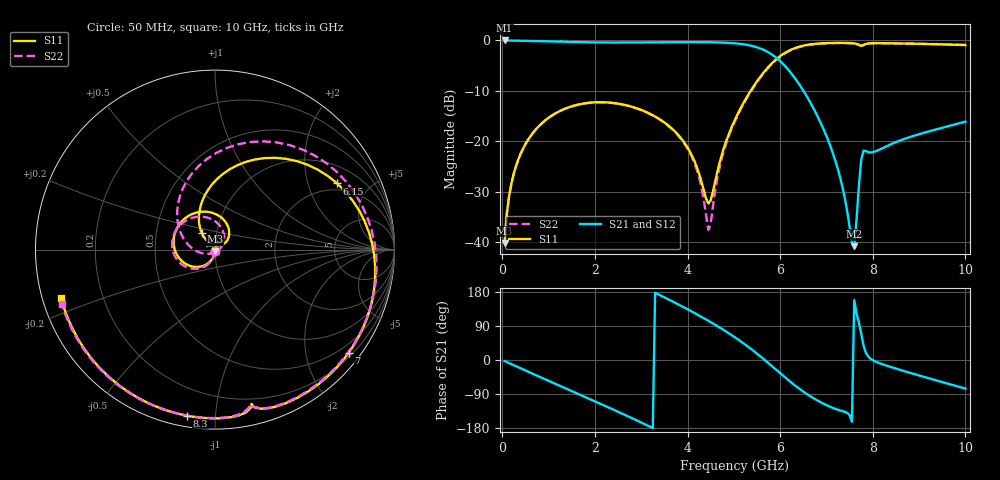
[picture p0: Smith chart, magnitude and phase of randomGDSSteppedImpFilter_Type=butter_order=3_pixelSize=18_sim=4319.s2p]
! freq	dB(S11)	phase(S11)	dB(S12)	phase(S12)
!  dB(S21)	phase(S21)	dB(S22)	phase(S22)
!S-par simulation data
#  GHz  S  DB  R 50
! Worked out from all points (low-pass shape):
!   200 points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, 50 MHz to 10 GHz, reference 50 ohm
!   highest |S21| = -0.01 dB at 50 MHz (marker M1); lowest = -40.8 dB at 7.6 GHz (marker M2)
!   |S21| within 3 dB of the highest: start of sweep to 5.854 GHz
!   lowest |S11| = -40.2 dB at 50 MHz (marker M3), VSWR 1.02, Z = 50 - j0.979 ohm
!   |S11| at or under -10 dB: start of sweep to 5.363 GHz
!   |S22| runs from -40.2 to -0.5 dB; largest |S21 - S12| = 0
!   S11 on the Smith chart (normalised r, x): 50 MHz: 1.00, -0.02; 4.9 GHz: 0.85, +0.16; 6.15 GHz: 1.68, +3.10; 7 GHz: 0.29, -2.91; 8.3 GHz: 0.05, -0.84; 10 GHz: 0.05, -0.15
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0.05  -40.17 -92.2  -0.01 -2.8  -0.01 -2.8  -40.17 -91.9
0.2  -28.27 -101.7  -0.02 -11.1  -0.02 -11.1  -28.27 -100.3
0.5  -20.58 -119.8  -0.08 -27.7  -0.08 -27.7  -20.58 -116.4
1.15  -14.46 -157.8  -0.24 -63.1  -0.24 -63.1  -14.46 -149.8
1.75  -12.53 167.5  -0.36 -95.5  -0.36 -95.5  -12.54 -180.0
2.7  -12.92 111.6  -0.41 -147.8  -0.41 -147.8  -12.95 131.7
3.4  -15.64 69.5  -0.36 171.4  -0.36 171.4  -15.72 92.9
4.1  -22.93 34.5  -0.34 127.3  -0.34 127.3  -23.26 44.2
4.45  -32.36 77.5  -0.36 103.5  -0.36 103.5  -37.60 -46.8
4.9  -18.40 128.3  -0.49 69.9  -0.49 69.9  -18.80 -179.2
5.05  -15.23 120.7  -0.59 57.7  -0.59 57.7  -15.52 165.4
5.6  -6.87 79.8  -1.70 6.9  -1.70 6.9  -7.04 106.5
6.15  -2.22 28.4  -5.53 -50.5  -5.53 -50.5  -2.33 43.1
6.7  -0.73 -17.4  -13.13 -99.3  -13.13 -99.3  -0.79 -10.8
7  -0.53 -37.6  -18.98 -119.1  -18.98 -119.1  -0.58 -33.9
7.3  -0.48 -55.1  -27.39 -133.3  -27.39 -133.3  -0.52 -53.5
7.6  -0.60 -71.2  -40.82 158.0  -40.82 158.0  -0.62 -71.1
7.75  -1.08 -76.7  -23.74 69.7  -23.74 69.7  -1.07 -77.2
7.8  -0.91 -77.0  -21.89 38.4  -21.89 38.4  -0.91 -77.8
8.3  -0.55 -99.6  -20.99 -15.0  -20.99 -15.0  -0.56 -101.2
8.35  -0.56 -101.6  -20.78 -17.0  -20.78 -17.0  -0.56 -103.2
10  -0.93 -162.6  -16.11 -75.4  -16.11 -75.4  -0.86 -160.6
